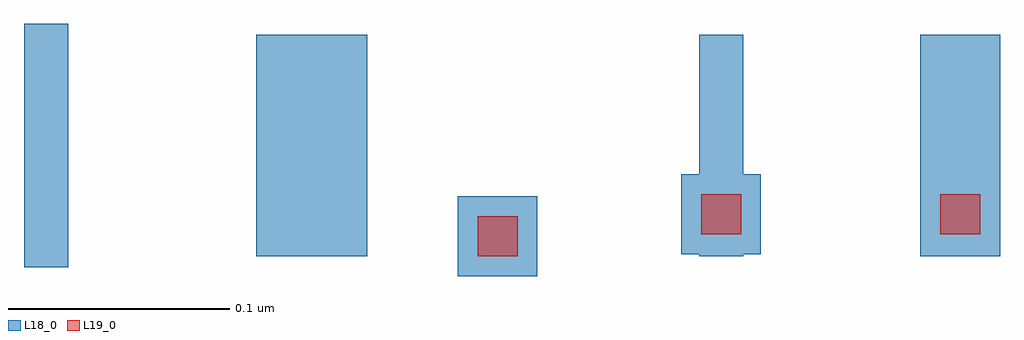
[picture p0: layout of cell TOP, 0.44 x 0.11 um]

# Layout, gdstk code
import gdstk
lib = gdstk.Library(unit=1e-6, precision=1e-09)
def R(c, l, rs):  # rectangles x0, y0, x1, y1
    for r in rs: c.add(gdstk.rectangle(r[:2], r[2:], *l))
def P(c, l, *ps):  # polygons
    for p in ps: c.add(gdstk.Polygon(p, *l))
L18_0 = (18, 0)
L19_0 = (19, 0)

top = lib.new_cell('TOP')
R(top, L18_0, [(0.191,-0.009,0.227,0.027), (-0.005,-0.005,0.015,0.105), (0.1,0,0.15,0.1), (0.4,0,0.436,0.1)])
P(top, L18_0, [(0.3,0),(0.3,0.001),(0.292,0.001),(0.292,0.037),(0.3,0.037),(0.3,0.1),(0.32,0.1),(0.32,0.037),(0.328,0.037),(0.328,0.001),(0.32,0.001),(0.32,0)])
R(top, L19_0, [(0.2,0,0.218,0.018), (0.301,0.01,0.319,0.028), (0.409,0.01,0.427,0.028)])

lib.write_gds('TOP.gds')
